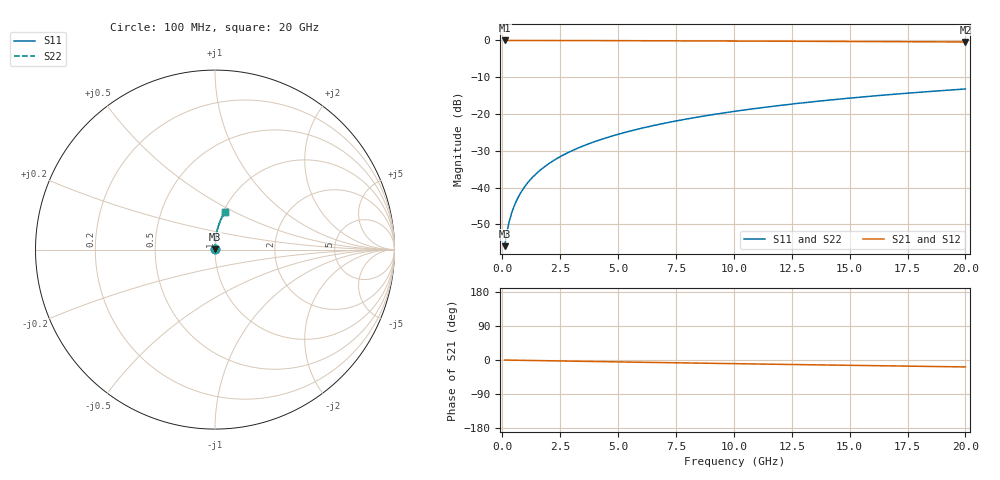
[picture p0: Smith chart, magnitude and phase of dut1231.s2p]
! Touchstone file exported from HFSS 2024.1.0
!  File:  C:/UserFiles/LocalFiles/RDL_TSV_Batchsim/temp_RDL_top_1231_1780240624.aedt
!  Generated:  11:19:38 PM May 31, 2026
!  Design:  RDL_top
!  Project:  temp_RDL_top_1231_1780240624
!  Setup:  Setup1
!  Solution:  Sweep
! Variables:
!  dtsv = 10.80580581um
!  hbump = 3um
!  htsv = 99.9um
!  ldown = 100um
!  lrdl = 211.7um
!  p = 40
!  p1 = 51.07um
!  rhole = 1um
!  t = 450um
!  tdown = 3.915915916um
!  trdl = 4.38um
!  wdown = 15.38538539um
!  wrdl = 16.94um
# GHz S MA R 50.000000
! Terminal data exported
! Port[1] = Box2_T1
! Port[2] = Box2_T2
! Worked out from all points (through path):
!   200 points, 100 MHz to 20 GHz, reference 50 ohm
!   highest |S21| = -0.01 dB at 100 MHz (marker M1); lowest = -0.4 dB at 20 GHz (marker M2)
!   group delay of S21, straight-line fit = 2.53 ps
!   lowest |S11| = -55.9 dB at 100 MHz (marker M3), VSWR 1.00, Z = 50.1 + j0.111 ohm
!   |S11| at or under -10 dB: start of sweep to end of sweep
!   |S22| runs from -55.9 to -13.2 dB; largest |S21 - S12| = 2.7e-15
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0.1  0.0016 43.6  0.9988 -0.1  0.9988 -0.1  0.0016 43.6
! Gamma 0 0 0 0
! Port Impedance 50 0 50 0
0.2  0.002491 61.2  0.9988 -0.2  0.9988 -0.2  0.002491 61.2
0.3  0.00347 69.1  0.9987 -0.3  0.9987 -0.3  0.00347 69.1
0.4  0.004471 73.5  0.9987 -0.4  0.9987 -0.4  0.004471 73.5
0.5  0.005483 76.3  0.9986 -0.5  0.9986 -0.5  0.005483 76.3
0.6  0.006502 78.3  0.9986 -0.6  0.9986 -0.6  0.006502 78.3
0.8  0.008557 80.8  0.9985 -0.8  0.9985 -0.8  0.008557 80.8
1.1  0.01166 83.0  0.9983 -1.1  0.9983 -1.1  0.01166 83.0
1.5  0.01583 84.5  0.998 -1.5  0.998 -1.5  0.01583 84.5
1.8  0.01897 85.2  0.9978 -1.8  0.9978 -1.8  0.01897 85.2
2.1  0.02212 85.6  0.9974 -2.2  0.9974 -2.2  0.02212 85.6
2.7  0.02844 86.1  0.9967 -2.8  0.9967 -2.8  0.02844 86.1
3.5  0.03692 86.4  0.9955 -3.6  0.9955 -3.6  0.03692 86.4
4.2  0.04439 86.4  0.9943 -4.2  0.9943 -4.2  0.04439 86.4
5  0.05301 86.3  0.9927 -5.0  0.9927 -5.0  0.05301 86.3
5.9  0.06279 86.0  0.9908 -5.9  0.9908 -5.9  0.06279 86.0
6.8  0.07267 85.6  0.9887 -6.7  0.9887 -6.7  0.07267 85.6
8.3  0.08931 84.7  0.9851 -8.1  0.9851 -8.1  0.08931 84.7
10.1  0.1095 83.5  0.9805 -9.8  0.9805 -9.8  0.1095 83.5
13.4  0.1466 80.8  0.9718 -12.7  0.9718 -12.7  0.1466 80.8
16.7  0.1832 77.9  0.9626 -15.5  0.9626 -15.5  0.1832 77.9
20  0.2188 74.9  0.9528 -18.3  0.9528 -18.3  0.2188 74.9
